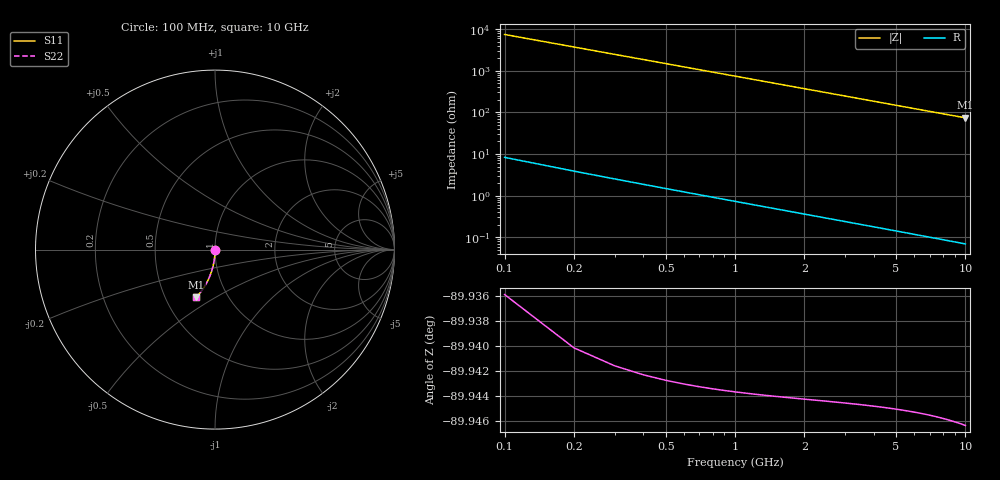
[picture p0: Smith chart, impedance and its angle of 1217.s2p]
# Hz S RI R 50.00
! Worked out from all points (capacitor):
!   100 points, 100 MHz to 10 GHz, reference 50 ohm
!   read as one part in shunt: C = 215 fF near 100 MHz
!   lowest |Z| = 73.9 ohm at 10 GHz (marker M1)
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1e8  9.85e-05 -0.00296  0.9999 -0.00378  0.9999 -0.00378  9.85e-05 -0.00296
2e8  6.25e-05 -0.00592  0.9998 -0.00756  0.9998 -0.00756  6.25e-05 -0.00592
3e8  3.81e-06 -0.00888  0.9998 -0.0113  0.9998 -0.0113  3.81e-06 -0.00888
4e8  -7.73e-05 -0.0118  0.9997 -0.0151  0.9997 -0.0151  -7.73e-05 -0.0118
5e8  -0.000181 -0.0148  0.9996 -0.0189  0.9996 -0.0189  -0.000181 -0.0148
6e8  -0.000307 -0.0178  0.9994 -0.0227  0.9994 -0.0227  -0.000307 -0.0178
7e8  -0.000455 -0.0207  0.9993 -0.0265  0.9993 -0.0265  -0.000455 -0.0207
8e8  -0.000626 -0.0237  0.9991 -0.0302  0.9991 -0.0302  -0.000626 -0.0237
9e8  -0.000819 -0.0266  0.9989 -0.034  0.9989 -0.034  -0.000819 -0.0266
1.1e9  -0.00127 -0.0325  0.9985 -0.0416  0.9985 -0.0416  -0.00127 -0.0325
1.4e9  -0.00212 -0.0414  0.9976 -0.0529  0.9976 -0.0529  -0.00212 -0.0414
1.8e9  -0.00356 -0.0531  0.9961 -0.0679  0.9961 -0.0679  -0.00356 -0.0531
2.1e9  -0.00488 -0.0619  0.9947 -0.0792  0.9947 -0.0792  -0.00488 -0.0619
2.5e9  -0.00694 -0.0736  0.9926 -0.0941  0.9926 -0.0941  -0.00694 -0.0736
2.9e9  -0.00935 -0.0852  0.9901 -0.109  0.9901 -0.109  -0.00935 -0.0852
3.4e9  -0.0129 -0.0995  0.9865 -0.1275  0.9865 -0.1275  -0.0129 -0.0995
4.2e9  -0.0196 -0.1222  0.9796 -0.1568  0.9796 -0.1568  -0.0196 -0.1222
5.1e9  -0.0287 -0.147  0.9702 -0.1891  0.9702 -0.1891  -0.0287 -0.147
5.9e9  -0.0381 -0.1684  0.9604 -0.2172  0.9604 -0.2172  -0.0381 -0.1684
6.7e9  -0.0488 -0.1891  0.9494 -0.2446  0.9494 -0.2446  -0.0488 -0.1891
8.4e9  -0.0751 -0.2303  0.9222 -0.3001  0.9222 -0.3001  -0.0751 -0.2303
1e10  -0.1037 -0.2651  0.8925 -0.3486  0.8925 -0.3486  -0.1037 -0.2651
